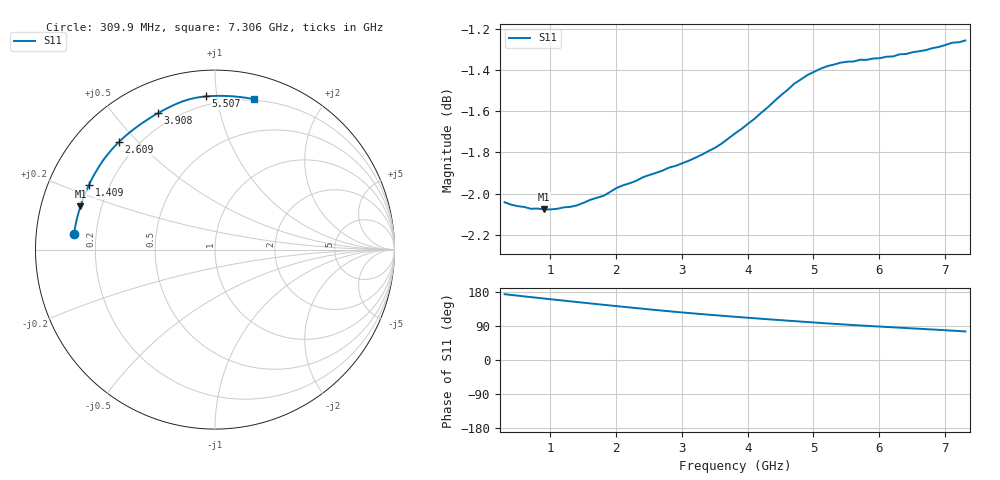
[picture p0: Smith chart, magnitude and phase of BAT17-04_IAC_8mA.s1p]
! Infineon Technologies  Discrete & RF Semiconductors
! BAT17-04
! IAC = 8 mA
! One-Port S-Parameters
# Hz  S  MA  R  50
!f  S11
!Hz  Mag  Ang
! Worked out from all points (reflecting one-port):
!   71 points, 309.9 MHz to 7.306 GHz, reference 50 ohm
!   lowest |S11| = -2.1 dB at 909.5 MHz (marker M1), VSWR 8.40, Z = 6.09 + j7.73 ohm
!   phase of S11 starts at 174 deg and turns -98 deg over the sweep
!   S11 on the Smith chart (normalised r, x): 309.9 MHz: 0.12, +0.05; 1.409 GHz: 0.12, +0.24; 2.609 GHz: 0.13, +0.44; 3.908 GHz: 0.14, +0.66; 5.507 GHz: 0.15, +0.93; 7.306 GHz: 0.19, +1.28
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3.0985e8  0.7905 173.6
6.097e8  0.7884 167.8
9.0955e8  0.7873 162.2
1.0095e9  0.7873 160.3
1.2094e9  0.7882 156.6
1.4093e9  0.7891 153.0
1.50925e9  0.7902 151.2
1.70915e9  0.7924 147.5
1.90905e9  0.795 144.0
2.10895e9  0.798 140.4
2.4088e9  0.8016 135.3
2.6087e9  0.8036 131.9
2.70865e9  0.8046 130.2
3.0085e9  0.8079 125.5
3.30835e9  0.8118 121.0
3.8081e9  0.8215 114.1
3.90805e9  0.8236 112.8
4.30785e9  0.8337 107.6
4.70765e9  0.8447 102.7
4.90755e9  0.8488 100.2
5.10745e9  0.8518 97.8
5.50725e9  0.8551 93.3
5.6072e9  0.8553 92.2
6.10695e9  0.8576 87.2
6.50675e9  0.8597 83.4
6.8066e9  0.8617 80.5
7.10645e9  0.8643 77.5
7.30635e9  0.8654 75.4
